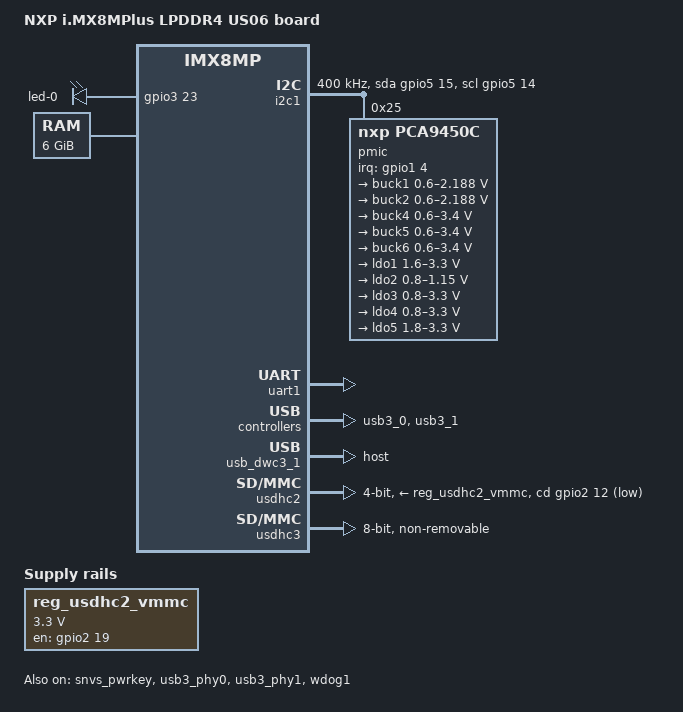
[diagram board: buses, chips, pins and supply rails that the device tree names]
// SPDX-License-Identifier: (GPL-2.0+ OR MIT)
/*
 * Copyright 2019 NXP
 */

/dts-v1/;

#include <dt-bindings/phy/phy-imx8-pcie.h>
#include <dt-bindings/usb/pd.h>
#include "imx8mp.dtsi"

/ {
	model = "NXP i.MX8MPlus LPDDR4 US06 board";
	compatible = "fsl,imx8mp-evk", "fsl,imx8mp";

	chosen {
		stdout-path = &uart1;
	};

	gpio-leds {
		compatible = "gpio-leds";
		pinctrl-names = "default";
		pinctrl-0 = <&pinctrl_gpio_led>;
		led-0 {
			gpios = <&gpio3 23 GPIO_ACTIVE_HIGH>; /* RST_OUT line */
			default-state = "on";
		};
	};

	memory@40000000 {
		device_type = "memory";
		reg = <0x0 0x40000000 0 0xc0000000>,
		      <0x1 0x00000000 0 0xc0000000>;
	};

	reg_usdhc2_vmmc: regulator-usdhc2 {
		compatible = "regulator-fixed";
		pinctrl-names = "default";
		pinctrl-0 = <&pinctrl_reg_usdhc2_vmmc>;
		regulator-name = "VSD_3V3";
		regulator-min-microvolt = <3300000>;
		regulator-max-microvolt = <3300000>;
		gpio = <&gpio2 19 GPIO_ACTIVE_HIGH>;
		enable-active-high;
	};
};

&A53_0 {
	cpu-supply = <&buck2>;
};

&A53_1 {
	cpu-supply = <&buck2>;
};

&A53_2 {
	cpu-supply = <&buck2>;
};

&A53_3 {
	cpu-supply = <&buck2>;
};

&i2c1 {
	clock-frequency = <400000>;
	pinctrl-names = "default", "gpio";
	pinctrl-0 = <&pinctrl_i2c1>;
	pinctrl-1 = <&pinctrl_i2c1_gpio>;
	scl-gpios = <&gpio5 14 GPIO_ACTIVE_HIGH>;
	sda-gpios = <&gpio5 15 GPIO_ACTIVE_HIGH>;
	status = "okay";

	pmic@25 {
		compatible = "nxp,pca9450c";
		reg = <0x25>;
		pinctrl-names = "default";
		pinctrl-0 = <&pinctrl_pmic>;
		interrupt-parent = <&gpio1>;
		interrupts = <4 IRQ_TYPE_LEVEL_LOW>;

		regulators {
			buck1: BUCK1 {
				regulator-name = "BUCK1";
				regulator-min-microvolt = <600000>;
				regulator-max-microvolt = <2187500>;
				regulator-boot-on;
				regulator-always-on;
				regulator-ramp-delay = <3125>;
			};

			buck2: BUCK2 {
				regulator-name = "BUCK2";
				regulator-min-microvolt = <600000>;
				regulator-max-microvolt = <2187500>;
				regulator-boot-on;
				regulator-always-on;
				regulator-ramp-delay = <3125>;
				nxp,dvs-run-voltage = <950000>;
				nxp,dvs-standby-voltage = <850000>;
			};

			buck4: BUCK4{
				regulator-name = "BUCK4";
				regulator-min-microvolt = <600000>;
				regulator-max-microvolt = <3400000>;
				regulator-boot-on;
				regulator-always-on;
			};

			buck5: BUCK5{
				regulator-name = "BUCK5";
				regulator-min-microvolt = <600000>;
				regulator-max-microvolt = <3400000>;
				regulator-boot-on;
				regulator-always-on;
			};

			buck6: BUCK6 {
				regulator-name = "BUCK6";
				regulator-min-microvolt = <600000>;
				regulator-max-microvolt = <3400000>;
				regulator-boot-on;
				regulator-always-on;
			};

			ldo1: LDO1 {
				regulator-name = "LDO1";
				regulator-min-microvolt = <1600000>;
				regulator-max-microvolt = <3300000>;
				regulator-boot-on;
				regulator-always-on;
			};

			ldo2: LDO2 {
				regulator-name = "LDO2";
				regulator-min-microvolt = <800000>;
				regulator-max-microvolt = <1150000>;
				regulator-boot-on;
				regulator-always-on;
			};

			ldo3: LDO3 {
				regulator-name = "LDO3";
				regulator-min-microvolt = <800000>;
				regulator-max-microvolt = <3300000>;
				regulator-boot-on;
				regulator-always-on;
			};

			ldo4: LDO4 {
				regulator-name = "LDO4";
				regulator-min-microvolt = <800000>;
				regulator-max-microvolt = <3300000>;
				regulator-boot-on;
				regulator-always-on;
			};

			ldo5: LDO5 {
				regulator-name = "LDO5";
				regulator-min-microvolt = <1800000>;
				regulator-max-microvolt = <3300000>;
				regulator-boot-on;
				regulator-always-on;
			};
		};
	};
};

&snvs_pwrkey {
	status = "okay";
};

&uart1 {
	/* console */
	pinctrl-names = "default";
	pinctrl-0 = <&pinctrl_uart1>;
	status = "okay";
};

&usb3_phy0 {
	fsl,phy-tx-vref-tune = <0xe>;
	fsl,phy-tx-preemp-amp-tune = <3>;
	fsl,phy-tx-vboost-level = <5>;
	fsl,phy-comp-dis-tune = <7>;
	fsl,pcs-tx-deemph-3p5db = <0x21>;
	fsl,phy-pcs-tx-swing-full = <0x7f>;
	status = "okay";
};

&usb3_0 {
	status = "okay";
};


&usb3_phy1 {
	fsl,phy-tx-preemp-amp-tune = <3>;
	fsl,phy-tx-vref-tune = <0xb>;
	status = "okay";
};

&usb3_1 {
	status = "okay";
};

&usb_dwc3_1 {
	dr_mode = "host";
	status = "okay";
};

&usdhc2 {
	assigned-clocks = <&clk IMX8MP_CLK_USDHC2>;
	assigned-clock-rates = <400000000>;
	pinctrl-names = "default", "state_100mhz", "state_200mhz";
	pinctrl-0 = <&pinctrl_usdhc2>, <&pinctrl_usdhc2_gpio>;
	pinctrl-1 = <&pinctrl_usdhc2_100mhz>, <&pinctrl_usdhc2_gpio>;
	pinctrl-2 = <&pinctrl_usdhc2_200mhz>, <&pinctrl_usdhc2_gpio>;
	cd-gpios = <&gpio2 12 GPIO_ACTIVE_LOW>;
	vmmc-supply = <&reg_usdhc2_vmmc>;
	bus-width = <4>;
	status = "okay";
};

&usdhc3 {
	assigned-clocks = <&clk IMX8MP_CLK_USDHC3>;
	assigned-clock-rates = <400000000>;
	pinctrl-names = "default", "state_100mhz", "state_200mhz";
	pinctrl-0 = <&pinctrl_usdhc3>;
	pinctrl-1 = <&pinctrl_usdhc3_100mhz>;
	pinctrl-2 = <&pinctrl_usdhc3_200mhz>;
	bus-width = <8>;
	non-removable;
	status = "okay";
};

&wdog1 {
	pinctrl-names = "default";
	pinctrl-0 = <&pinctrl_wdog>;
	fsl,ext-reset-output;
	status = "okay";
};

&iomuxc {
	pinctrl_i2c1: i2c1grp {
		fsl,pins = <
			MX8MP_IOMUXC_I2C1_SCL__I2C1_SCL		0x400001c2
			MX8MP_IOMUXC_I2C1_SDA__I2C1_SDA		0x400001c2
		>;
	};

	pinctrl_pmic: pmicirqgrp {
		fsl,pins = <
			MX8MP_IOMUXC_GPIO1_IO04__GPIO1_IO04	0x000001c0
		>;
	};

	pinctrl_reg_usdhc2_vmmc: regusdhc2vmmcgrp {
		fsl,pins = <
			MX8MP_IOMUXC_SD2_RESET_B__GPIO2_IO19	0x40
		>;
	};

	pinctrl_i2c1_gpio: i2c1gpiogrp {
		fsl,pins = <
			MX8MP_IOMUXC_I2C1_SCL__GPIO5_IO14        	0x1c3
			MX8MP_IOMUXC_I2C1_SDA__GPIO5_IO15        	0x1c3
		>;
	};

	pinctrl_uart1: uart1grp {
		fsl,pins = <
			MX8MP_IOMUXC_UART1_RXD__UART1_DCE_RX	0x140
			MX8MP_IOMUXC_UART1_TXD__UART1_DCE_TX	0x140
		>;
	};

	pinctrl_gpio_led: gpioledgrp {
		fsl,pins = <
			MX8MP_IOMUXC_SAI5_RXD2__GPIO3_IO23	0x140 /* RST_OUT */
		>;
	};

	pinctrl_usdhc2: usdhc2grp {
		fsl,pins = <
			MX8MP_IOMUXC_SD2_CLK__USDHC2_CLK	0x190
			MX8MP_IOMUXC_SD2_CMD__USDHC2_CMD	0x1d0
			MX8MP_IOMUXC_SD2_DATA0__USDHC2_DATA0	0x1d0
			MX8MP_IOMUXC_SD2_DATA1__USDHC2_DATA1	0x1d0
			MX8MP_IOMUXC_SD2_DATA2__USDHC2_DATA2	0x1d0
			MX8MP_IOMUXC_SD2_DATA3__USDHC2_DATA3	0x1d0
			MX8MP_IOMUXC_GPIO1_IO04__USDHC2_VSELECT	0xc0
		>;
	};

	pinctrl_usdhc2_100mhz: usdhc2-100mhzgrp {
		fsl,pins = <
			MX8MP_IOMUXC_SD2_CLK__USDHC2_CLK	0x194
			MX8MP_IOMUXC_SD2_CMD__USDHC2_CMD	0x1d4
			MX8MP_IOMUXC_SD2_DATA0__USDHC2_DATA0	0x1d4
			MX8MP_IOMUXC_SD2_DATA1__USDHC2_DATA1	0x1d4
			MX8MP_IOMUXC_SD2_DATA2__USDHC2_DATA2	0x1d4
			MX8MP_IOMUXC_SD2_DATA3__USDHC2_DATA3	0x1d4
			MX8MP_IOMUXC_GPIO1_IO04__USDHC2_VSELECT 0xc0
		>;
	};

	pinctrl_usdhc2_200mhz: usdhc2-200mhzgrp {
		fsl,pins = <
			MX8MP_IOMUXC_SD2_CLK__USDHC2_CLK	0x196
			MX8MP_IOMUXC_SD2_CMD__USDHC2_CMD	0x1d6
			MX8MP_IOMUXC_SD2_DATA0__USDHC2_DATA0	0x1d6
			MX8MP_IOMUXC_SD2_DATA1__USDHC2_DATA1	0x1d6
			MX8MP_IOMUXC_SD2_DATA2__USDHC2_DATA2	0x1d6
			MX8MP_IOMUXC_SD2_DATA3__USDHC2_DATA3	0x1d6
			MX8MP_IOMUXC_GPIO1_IO04__USDHC2_VSELECT 0xc0
		>;
	};

	pinctrl_usdhc2_gpio: usdhc2gpiogrp {
		fsl,pins = <
			MX8MP_IOMUXC_SD2_CD_B__GPIO2_IO12	0x1c4
		>;
	};

	pinctrl_usdhc3: usdhc3grp {
		fsl,pins = <
			MX8MP_IOMUXC_NAND_WE_B__USDHC3_CLK	0x190
			MX8MP_IOMUXC_NAND_WP_B__USDHC3_CMD	0x1d0
			MX8MP_IOMUXC_NAND_DATA04__USDHC3_DATA0	0x1d0
			MX8MP_IOMUXC_NAND_DATA05__USDHC3_DATA1	0x1d0
			MX8MP_IOMUXC_NAND_DATA06__USDHC3_DATA2	0x1d0
			MX8MP_IOMUXC_NAND_DATA07__USDHC3_DATA3	0x1d0
			MX8MP_IOMUXC_NAND_RE_B__USDHC3_DATA4	0x1d0
			MX8MP_IOMUXC_NAND_CE2_B__USDHC3_DATA5	0x1d0
			MX8MP_IOMUXC_NAND_CE3_B__USDHC3_DATA6	0x1d0
			MX8MP_IOMUXC_NAND_CLE__USDHC3_DATA7	0x1d0
			MX8MP_IOMUXC_NAND_CE1_B__USDHC3_STROBE	0x190
		>;
	};

	pinctrl_usdhc3_100mhz: usdhc3-100mhzgrp {
		fsl,pins = <
			MX8MP_IOMUXC_NAND_WE_B__USDHC3_CLK	0x194
			MX8MP_IOMUXC_NAND_WP_B__USDHC3_CMD	0x1d4
			MX8MP_IOMUXC_NAND_DATA04__USDHC3_DATA0	0x1d4
			MX8MP_IOMUXC_NAND_DATA05__USDHC3_DATA1	0x1d4
			MX8MP_IOMUXC_NAND_DATA06__USDHC3_DATA2	0x1d4
			MX8MP_IOMUXC_NAND_DATA07__USDHC3_DATA3	0x1d4
			MX8MP_IOMUXC_NAND_RE_B__USDHC3_DATA4	0x1d4
			MX8MP_IOMUXC_NAND_CE2_B__USDHC3_DATA5	0x1d4
			MX8MP_IOMUXC_NAND_CE3_B__USDHC3_DATA6	0x1d4
			MX8MP_IOMUXC_NAND_CLE__USDHC3_DATA7	0x1d4
			MX8MP_IOMUXC_NAND_CE1_B__USDHC3_STROBE	0x194
		>;
	};

	pinctrl_usdhc3_200mhz: usdhc3-200mhzgrp {
		fsl,pins = <
			MX8MP_IOMUXC_NAND_WE_B__USDHC3_CLK	0x196
			MX8MP_IOMUXC_NAND_WP_B__USDHC3_CMD	0x1d6
			MX8MP_IOMUXC_NAND_DATA04__USDHC3_DATA0	0x1d6
			MX8MP_IOMUXC_NAND_DATA05__USDHC3_DATA1	0x1d6
			MX8MP_IOMUXC_NAND_DATA06__USDHC3_DATA2	0x1d6
			MX8MP_IOMUXC_NAND_DATA07__USDHC3_DATA3	0x1d6
			MX8MP_IOMUXC_NAND_RE_B__USDHC3_DATA4	0x1d6
			MX8MP_IOMUXC_NAND_CE2_B__USDHC3_DATA5	0x1d6
			MX8MP_IOMUXC_NAND_CE3_B__USDHC3_DATA6	0x1d6
			MX8MP_IOMUXC_NAND_CLE__USDHC3_DATA7	0x1d6
			MX8MP_IOMUXC_NAND_CE1_B__USDHC3_STROBE	0x196
		>;
	};

	pinctrl_wdog: wdoggrp {
		fsl,pins = <
			MX8MP_IOMUXC_GPIO1_IO02__WDOG1_WDOG_B	0x166
		>;
	};
};
